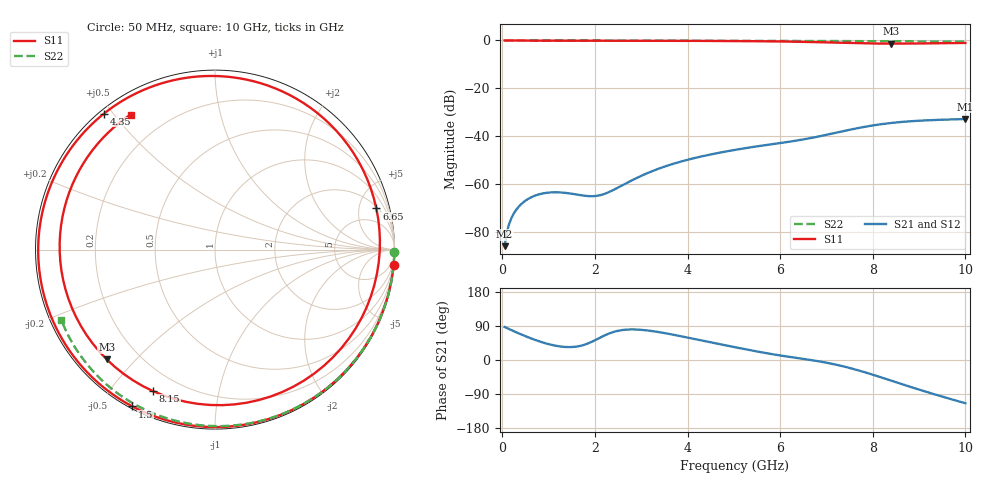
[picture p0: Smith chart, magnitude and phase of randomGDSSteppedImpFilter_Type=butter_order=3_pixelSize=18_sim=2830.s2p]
! freq	dB(S11)	phase(S11)	dB(S12)	phase(S12)
!  dB(S21)	phase(S21)	dB(S22)	phase(S22)
!S-par simulation data
#  GHz  S  DB  R 50
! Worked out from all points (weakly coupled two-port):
!   200 points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, 50 MHz to 10 GHz, reference 50 ohm
!   highest |S21| = -32.88 dB at 10 GHz (marker M1); lowest = -86.1 dB at 50 MHz (marker M2)
!   lowest |S11| = -1.3 dB at 8.4 GHz (marker M3), VSWR 13.19, Z = 4.45 - j20.8 ohm
!   |S11| at or under -10 dB: nowhere
!   |S22| runs from -0.5 to 0.0 dB; largest |S21 - S12| = 0
!   S11 on the Smith chart (normalised r, x): 50 MHz: 0, -23; 1.5 GHz: 0.01, -0.60; 4.35 GHz: 0.01, +0.47; 6.65 GHz: 2.22, +7.30; 8.15 GHz: 0.11, -0.65; 10 GHz: 0.08, +0.55
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0.05  -0.00 -4.9  -86.11 87.2  -86.11 87.2  -0.00 -0.9
0.1  -0.01 -9.7  -80.12 84.3  -80.12 84.3  -0.00 -1.8
0.35  -0.04 -33.3  -69.69 70.4  -69.69 70.4  -0.01 -6.3
0.75  -0.08 -67.6  -64.66 51.2  -64.66 51.2  -0.02 -13.4
1.1  -0.10 -93.2  -63.56 38.9  -63.56 38.9  -0.03 -19.6
1.5  -0.11 -117.8  -64.16 34.2  -64.16 34.2  -0.03 -26.7
1.75  -0.11 -131.0  -64.93 39.4  -64.93 39.4  -0.04 -31.0
2.5  -0.12 -164.1  -61.58 77.1  -61.58 77.1  -0.06 -43.9
3.4  -0.14 162.8  -53.51 73.2  -53.51 73.2  -0.08 -58.9
4.35  -0.19 129.2  -48.34 50.4  -48.34 50.4  -0.11 -74.1
5.05  -0.25 102.0  -45.72 33.1  -45.72 33.1  -0.13 -84.9
5.9  -0.40 61.6  -43.22 13.9  -43.22 13.9  -0.17 -97.6
6.65  -0.65 14.3  -40.89 0.1  -40.89 0.1  -0.21 -108.5
6.7  -0.67 10.7  -40.70 -0.8  -40.70 -0.8  -0.21 -109.2
7.1  -0.88 -20.9  -39.07 -9.5  -39.07 -9.5  -0.24 -114.9
7.55  -1.11 -60.3  -37.19 -22.6  -37.19 -22.6  -0.27 -121.2
7.85  -1.23 -87.3  -36.07 -33.1  -36.07 -33.1  -0.30 -125.4
8.15  -1.30 -113.8  -35.15 -44.6  -35.15 -44.6  -0.32 -129.6
8.35  -1.32 -130.5  -34.65 -52.5  -34.65 -52.5  -0.34 -132.4
8.4  -1.32 -134.6  -34.54 -54.5  -34.54 -54.5  -0.35 -133.1
9.1  -1.24 174.4  -33.50 -81.9  -33.50 -81.9  -0.42 -142.8
10  -1.04 122.0  -32.88 -114.1  -32.88 -114.1  -0.52 -155.5
